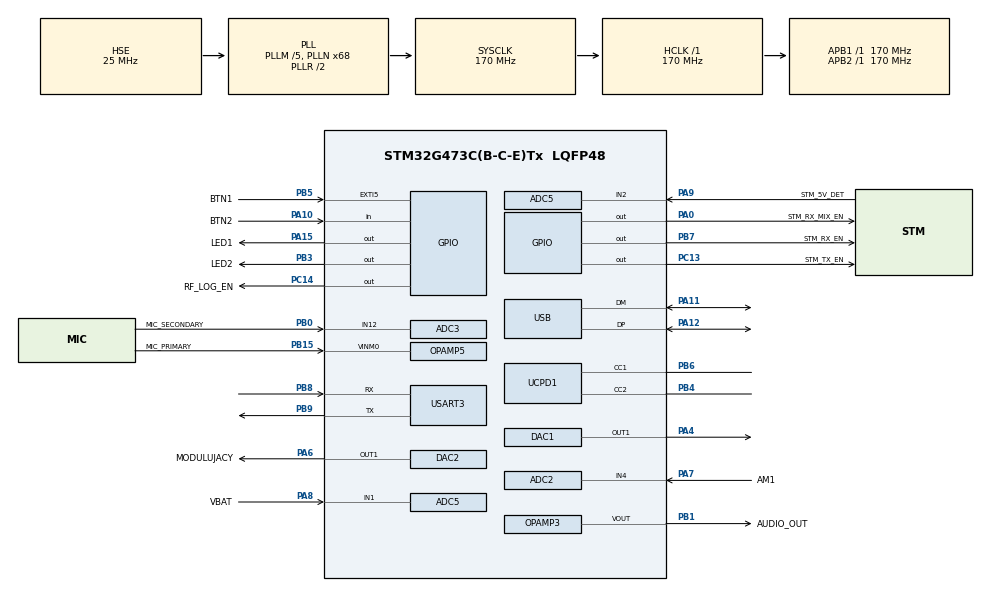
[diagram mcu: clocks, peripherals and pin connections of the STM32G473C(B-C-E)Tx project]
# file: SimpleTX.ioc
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ADC2.Channel-0\#ChannelRegularConversion=ADC_CHANNEL_4
ADC2.NbrOfConversionFlag=1
ADC2.OffsetNumber-0\#ChannelRegularConversion=ADC_OFFSET_NONE
ADC2.Rank-0\#ChannelRegularConversion=1
ADC2.SamplingTime-0\#ChannelRegularConversion=ADC_SAMPLETIME_2CYCLES_5
ADC3.Channel-0\#ChannelRegularConversion=ADC_CHANNEL_12
ADC3.NbrOfConversionFlag=1
ADC3.OffsetNumber-0\#ChannelRegularConversion=ADC_OFFSET_NONE
ADC3.Rank-0\#ChannelRegularConversion=1
ADC3.SamplingTime-0\#ChannelRegularConversion=ADC_SAMPLETIME_2CYCLES_5
ADC3.master=1
ADC5.Channel-1\#ChannelRegularConversion=ADC_CHANNEL_VOPAMP5
ADC5.NbrOfConversionFlag=1
ADC5.OffsetNumber-1\#ChannelRegularConversion=ADC_OFFSET_NONE
ADC5.Rank-1\#ChannelRegularConversion=1
ADC5.SamplingTime-1\#ChannelRegularConversion=ADC_SAMPLETIME_2CYCLES_5
DAC3.DAC_Channel-DAC_OUT2_Int=DAC_CHANNEL_2
DAC4.DAC_Channel-DAC_OUT2_Int=DAC_CHANNEL_2
Mcu.Family=STM32G4
Mcu.Name=STM32G473C(B-C-E)Tx
Mcu.Package=LQFP48
NVIC.ADC1_2_IRQn=true\:1\:0\:true\:false\:true\:true\:true\:true
NVIC.ADC3_IRQn=true\:1\:0\:true\:false\:true\:true\:true\:true
NVIC.ADC5_IRQn=true\:1\:0\:true\:false\:true\:true\:true\:true
NVIC.PriorityGroup=NVIC_PRIORITYGROUP_4
NVIC.TIM2_IRQn=true\:0\:0\:false\:false\:true\:true\:true\:true
NVIC.TIM6_DAC_IRQn=true\:10\:0\:true\:false\:true\:true\:true\:true
NVIC.TIM7_DAC_IRQn=true\:3\:0\:true\:false\:true\:true\:true\:true
NVIC.USART3_IRQn=true\:2\:0\:true\:false\:true\:true\:true\:true
PA0.GPIO_Label=STM_RX_MIX_EN
PA0.GPIO_PuPd=GPIO_NOPULL
PA0.Signal=GPIO_Output
PA10.GPIO_Label=BTN2
PA10.GPIO_PuPd=GPIO_PULLUP
PA10.Signal=SharedStack_PA10
PA10.Stacked=true
PA11.Mode=Device
PA11.Signal=USB_DM
PA12.Mode=Device
PA12.Signal=USB_DP
PA13.Mode=Serial_Wire
PA13.Signal=SYS_JTMS-SWDIO
PA14.Mode=Serial_Wire
PA14.Signal=SYS_JTCK-SWCLK
PA15.GPIO_Label=LED1
PA15.GPIO_PuPd=GPIO_NOPULL
PA15.Signal=GPIO_Output
PA15.Stacked=true
PA4.Signal=COMP_DAC11_group
PA6.GPIO_Label=MODULUJACY
PA6.Signal=COMP_DAC21_group
PA7.GPIO_Label=AM1
PA7.Mode=IN4-Single-Ended
PA7.Signal=ADC2_IN4
PA8.GPIO_Label=VBAT
PA8.Mode=IN1-Differential
PA8.Signal=ADC5_IN1
PA9.GPIO_Label=STM_5V_DET
PA9.Mode=IN1-Differential
PA9.Signal=ADC5_IN2
PB0.GPIO_Label=MIC_SECONDARY
PB0.Mode=IN12-Single-Ended
PB0.Signal=ADC3_IN12
PB1.GPIO_Label=AUDIO_OUT
PB1.Mode=Follower-DAC_OUT2-INP
PB1.Signal=OPAMP3_VOUT
PB14.Signal=OPAMP5_VINP
PB15.GPIO_Label=MIC_PRIMARY
PB15.Mode=PGA_Connected-INVERTINGINPUT_IO0_BIAS-DAC_OUT2-INP_Output_internal
PB15.Signal=OPAMP5_VINM0
PB3.GPIO_Label=LED2
PB3.GPIO_PuPd=GPIO_NOPULL
PB3.Signal=GPIO_Output
PB3.Stacked=true
PB4.Mode=Sink_AllSignals
PB4.Signal=UCPD1_CC2
PB5.GPIO_Label=BTN1
PB5.GPIO_PuPd=GPIO_PULLUP
PB5.Signal=GPXTI5
PB6.Mode=Sink_AllSignals
PB6.Signal=UCPD1_CC1
PB7.GPIO_Label=STM_RX_EN
PB7.Signal=GPIO_Output
PB8-BOOT0.Mode=Asynchronous
PB8-BOOT0.Signal=USART3_RX
PB9.Mode=Asynchronous
PB9.Signal=USART3_TX
PC13.GPIO_Label=STM_TX_EN
PC13.Signal=GPIO_Output
PC13.Stacked=true
PC14-OSC32_IN.GPIO_Label=RF_LOG_EN
PC14-OSC32_IN.Signal=GPIO_Output
PF0-OSC_IN.Mode=HSE-External-Oscillator
PF0-OSC_IN.Signal=RCC_OSC_IN
PF1-OSC_OUT.Mode=HSE-External-Oscillator
PF1-OSC_OUT.Signal=RCC_OSC_OUT
ProjectManager.HeapSize=0x200
ProjectManager.StackSize=0x400
ProjectManager.TargetToolchain=STM32CubeIDE
RCC.ADC12Freq_Value=170000000
RCC.ADC345Freq_Value=170000000
RCC.AHBFreq_Value=170000000
RCC.APB1Freq_Value=170000000
RCC.APB1TimFreq_Value=170000000
RCC.APB2Freq_Value=170000000
RCC.APB2TimFreq_Value=170000000
RCC.CK48CLockSelection=RCC_USBCLKSOURCE_HSI48
RCC.CortexFreq_Value=170000000
RCC.EXTERNAL_CLOCK_VALUE=12288000
RCC.HCLKFreq_Value=170000000
RCC.HSE_VALUE=25000000
RCC.HSI48_VALUE=48000000
RCC.HSI_VALUE=16000000
RCC.LSE_VALUE=32768
RCC.PLLM=RCC_PLLM_DIV5
RCC.PLLN=68
RCC.PLLSourceVirtual=RCC_PLLSOURCE_HSE
RCC.SYSCLKFreq_VALUE=170000000
RCC.SYSCLKSource=RCC_SYSCLKSOURCE_PLLCLK
RCC.USBFreq_Value=48000000
RCC.VCOOutputFreq_Value=340000000
SH.COMP_DAC11_group.0=DAC1_OUT1,DAC_OUT1
SH.COMP_DAC21_group.0=DAC2_OUT1,DAC_OUT1
SH.SharedStack_PA10.0=GPIO_Input+0
SH.SharedStack_PA10.1=GPIO_EXTI10
SYS.VoltageScaling=SYSCFG_VREFBUF_VOLTAGE_SCALE1
TIM2.ClockDivision=TIM_CLOCKDIVISION_DIV4
TIM2.PeriodNoDither=9999
TIM2.Prescaler=7999
TIM5.Prescaler=169
USART3.VirtualMode-Asynchronous=VM_ASYNC
USB.battery_charging_enable=DISABLE
VP_ADC5_OPAMP_INTERNAL5.Mode=IN-OPAMP5
VP_DAC3_VS_DACI1.Mode=DAC_OUT1_Int
VP_DAC3_VS_DACI2.Mode=DAC_OUT2_Int
VP_DAC4_VS_DACI1.Mode=DAC_OUT1_Int
VP_DAC4_VS_DACI2.Mode=DAC_OUT2_Int
VP_SYS_VS_DBSignals.Mode=DisableDeadBatterySignals
VP_TIM1_VS_ClockSourceINT.Mode=Internal
VP_TIM2_VS_ClockSourceINT.Mode=Internal
VP_TIM5_VS_ClockSourceINT.Mode=Internal
VREF+.Mode=InternalMode
VREF+.Signal=VREFBUF_OUT
board=custom

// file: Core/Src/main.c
/* USER CODE BEGIN Header */
/**
  ******************************************************************************
  * @file           : main.c
  * @brief          : Main program body
  ******************************************************************************
  * @attention
  *
  * Copyright (c) 2024 STMicroelectronics.
  * All rights reserved.
  *
  * This software is licensed under terms that can be found in the LICENSE file
  * in the root directory of this software component.
  * If no LICENSE file comes with this software, it is provided AS-IS.
  *
  ******************************************************************************
  */
/* USER CODE END Header */
#include "main.h"

ADC_HandleTypeDef hadc2;
ADC_HandleTypeDef hadc3;
ADC_HandleTypeDef hadc5;

DAC_HandleTypeDef hdac1;
DAC_HandleTypeDef hdac2;
DAC_HandleTypeDef hdac3;
DAC_HandleTypeDef hdac4;

OPAMP_HandleTypeDef hopamp3;
OPAMP_HandleTypeDef hopamp5;

TIM_HandleTypeDef htim1;
TIM_HandleTypeDef htim2;
TIM_HandleTypeDef htim5;

UART_HandleTypeDef huart3;

PCD_HandleTypeDef hpcd_USB_FS;

/* USER CODE BEGIN PV */
uint32_t value;
uint32_t mode;
uint32_t frequency;
float amplitude;
uint16_t scaled_sinewave[100];
/* USER CODE END PV */

void SystemClock_Config(void);
static void MX_GPIO_Init(void);
static void MX_ADC3_Init(void);
static void MX_ADC5_Init(void);
static void MX_DAC1_Init(void);
static void MX_DAC3_Init(void);
static void MX_DAC4_Init(void);
static void MX_OPAMP3_Init(void);
static void MX_OPAMP5_Init(void);
static void MX_UCPD1_Init(void);
static void MX_USART3_UART_Init(void);
static void MX_ADC2_Init(void);
static void MX_DAC2_Init(void);
static void MX_TIM1_Init(void);
static void MX_USB_PCD_Init(void);
static void MX_TIM2_Init(void);
static void MX_TIM5_Init(void);

/* USER CODE BEGIN 0 */
uint16_t sinewave[100] = {0, 4, 16, 36, 64, 100, 144, 195, 253, 319,
                        391, 470, 555, 646, 742, 844, 950, 1061, 1176, 1294,
                        1415, 1538, 1664, 1791, 1919, 2048, 2176, 2304, 2431, 2557,
                        2680, 2801, 2919, 3034, 3145, 3251, 3353, 3449, 3540, 3625,
                        3704, 3776, 3842, 3900, 3951, 3995, 4031, 4059, 4079, 4091,
                        4095, 4091, 4079, 4059, 4031, 3995, 3951, 3900, 3842, 3776,
                        3704, 3625, 3540, 3449, 3353, 3251, 3145, 3034, 2919, 2801,
                        2680, 2557, 2431, 2304, 2176, 2048, 1919, 1791, 1664, 1538,
                        1415, 1294, 1176, 1061, 950, 844, 742, 646, 555, 470,
                        391, 319, 253, 195, 144, 100, 64, 36, 16, 4};

void UpdateSineWave(uint16_t *output, uint16_t *input, float amplitude)
{
    for (uint8_t i = 0; i < 100; i++)
    {
        uint32_t scaled_value = (uint32_t)(input[i] * amplitude);
        if (scaled_value > 4095)
            scaled_value = 4095;
        output[i] = (uint16_t)scaled_value;
    }
}

void microDelay (uint16_t delay)
{
  __HAL_TIM_SET_COUNTER(&htim5, 0);
  while (__HAL_TIM_GET_COUNTER(&htim5) < delay);

}

/* USER CODE END 0 */

int main(void)
{

  /* MCU Configuration--------------------------------------------------------*/

  /* Reset of all peripherals, Initializes the Flash interface and the Systick. */
  HAL_Init();

  /* Configure the system clock */
  SystemClock_Config();

  /* Initialize all configured peripherals */
  MX_GPIO_Init();
  MX_ADC3_Init();
  MX_ADC5_Init();
  MX_DAC1_Init();
  MX_DAC3_Init();
  MX_DAC4_Init();
  MX_OPAMP3_Init();
  MX_OPAMP5_Init();
  MX_UCPD1_Init();
  MX_USART3_UART_Init();
  MX_ADC2_Init();
  MX_DAC2_Init();
  MX_TIM1_Init();
  MX_USB_PCD_Init();
  MX_TIM2_Init();
  MX_TIM5_Init();
  /* USER CODE BEGIN 2 */

HAL_DAC_Start(&hdac1, DAC_CHANNEL_1);
HAL_DAC_Start(&hdac2, DAC_CHANNEL_1);
HAL_TIM_Base_Start(&htim5);
value = 2945; //1.6V
mode = 0; //tryb_pierwszy
frequency = 1; //10KHz
amplitude = 1;
  /* USER CODE END 2 */

  /* Infinite loop */
  /* USER CODE BEGIN WHILE */

  while (1)
  {
	  HAL_DAC_SetValue(&hdac1, DAC_CHANNEL_1, DAC_ALIGN_12B_R, value);
	      for (uint8_t i = 0; i < 100; i++)
	      {
	          HAL_DAC_SetValue(&hdac2, DAC_CHANNEL_1, DAC_ALIGN_12B_R, scaled_sinewave[i]);
	          microDelay(frequency);
	      }

	      // Obsługa przycisku BTN2 i diody LED2
	      if (HAL_GPIO_ReadPin(BTN2_GPIO_Port, BTN2_Pin) == GPIO_PIN_RESET)
	      {
	          HAL_GPIO_WritePin(LED2_GPIO_Port, LED2_Pin, GPIO_PIN_SET); // Włącz LED2
	          mode++;
	          if (mode > 2)
	              mode = 0;
	          HAL_Delay(300);
	      }
	      else
	      {
	          HAL_GPIO_WritePin(LED2_GPIO_Port, LED2_Pin, GPIO_PIN_RESET); // Wyłącz LED2
	      }

	      // Tryb 0: Zwiększanie wartości DAC i zapalanie LED1
	      if (mode == 0)
	      {
	          if (HAL_GPIO_ReadPin(BTN1_GPIO_Port, BTN1_Pin) == GPIO_PIN_RESET)
	          {
	              HAL_GPIO_WritePin(LED1_GPIO_Port, LED1_Pin, GPIO_PIN_SET); // Włącz LED1
	              value += 93;
	              if (value < 0)
	                  value = 1850;
	              if (value > 4095)
	                  value = 1850;
	              HAL_Delay(300);
	          }
	          else
	          {
	              HAL_GPIO_WritePin(LED1_GPIO_Port, LED1_Pin, GPIO_PIN_RESET); // Wyłącz LED1
	          }
	      }

	      // Tryb 1: Zwiększanie częstotliwości i zapalanie LED1
	      if (mode == 1)
	      {
	          if (HAL_GPIO_ReadPin(BTN1_GPIO_Port, BTN1_Pin) == GPIO_PIN_RESET)
	          {
	              HAL_GPIO_WritePin(LED1_GPIO_Port, LED1_Pin, GPIO_PIN_SET); // Włącz LED1
	              frequency++;
	              if (frequency > 5)
	                  frequency = 1;
	        	  UpdateSineWave(scaled_sinewave, sinewave, amplitude);
	              HAL_Delay(300);
	          }
	          else
	          {
	              HAL_GPIO_WritePin(LED1_GPIO_Port, LED1_Pin, GPIO_PIN_RESET); // Wyłącz LED1
	          }
	      }

	      // Tryb 2: ZMNIEJSZANIE amplitudy i zapalanie LED1
	      if (mode == 2)
	      {
	          if (HAL_GPIO_ReadPin(BTN1_GPIO_Port, BTN1_Pin) == GPIO_PIN_RESET)
	          {
	              HAL_GPIO_WritePin(LED1_GPIO_Port, LED1_Pin, GPIO_PIN_SET); // Włącz LED1
	              amplitude = amplitude - 0.1;
	              if (amplitude < 0) amplitude = 1;  // Reset do minimalnej amplitudy
	        	  UpdateSineWave(scaled_sinewave, sinewave, amplitude);
	              HAL_Delay(300);
	          }
	          else
	          {
	              HAL_GPIO_WritePin(LED1_GPIO_Port, LED1_Pin, GPIO_PIN_RESET); // Wyłącz LED1
	          }
	      }
    /* USER CODE END WHILE */

  }
}

void SystemClock_Config(void)
{
  RCC_OscInitTypeDef RCC_OscInitStruct = {0};
  RCC_ClkInitTypeDef RCC_ClkInitStruct = {0};

  /** Configure the main internal regulator output voltage
  */
  HAL_PWREx_ControlVoltageScaling(PWR_REGULATOR_VOLTAGE_SCALE1_BOOST);

  /** Initializes the RCC Oscillators according to the specified parameters
  * in the RCC_OscInitTypeDef structure.
  */
  RCC_OscInitStruct.OscillatorType = RCC_OSCILLATORTYPE_HSI|RCC_OSCILLATORTYPE_HSI48
                              |RCC_OSCILLATORTYPE_HSE;
  RCC_OscInitStruct.HSEState = RCC_HSE_ON;
  RCC_OscInitStruct.HSIState = RCC_HSI_ON;
  RCC_OscInitStruct.HSICalibrationValue = RCC_HSICALIBRATION_DEFAULT;
  RCC_OscInitStruct.HSI48State = RCC_HSI48_ON;
  RCC_OscInitStruct.PLL.PLLState = RCC_PLL_ON;
  RCC_OscInitStruct.PLL.PLLSource = RCC_PLLSOURCE_HSE;
  RCC_OscInitStruct.PLL.PLLM = RCC_PLLM_DIV5;
  RCC_OscInitStruct.PLL.PLLN = 68;
  RCC_OscInitStruct.PLL.PLLP = RCC_PLLP_DIV2;
  RCC_OscInitStruct.PLL.PLLQ = RCC_PLLQ_DIV2;
  RCC_OscInitStruct.PLL.PLLR = RCC_PLLR_DIV2;
  if (HAL_RCC_OscConfig(&RCC_OscInitStruct) != HAL_OK)
  {
    Error_Handler();
  }

  /** Initializes the CPU, AHB and APB buses clocks
  */
  RCC_ClkInitStruct.ClockType = RCC_CLOCKTYPE_HCLK|RCC_CLOCKTYPE_SYSCLK
                              |RCC_CLOCKTYPE_PCLK1|RCC_CLOCKTYPE_PCLK2;
  RCC_ClkInitStruct.SYSCLKSource = RCC_SYSCLKSOURCE_PLLCLK;
  RCC_ClkInitStruct.AHBCLKDivider = RCC_SYSCLK_DIV1;
  RCC_ClkInitStruct.APB1CLKDivider = RCC_HCLK_DIV1;
  RCC_ClkInitStruct.APB2CLKDivider = RCC_HCLK_DIV1;

  if (HAL_RCC_ClockConfig(&RCC_ClkInitStruct, FLASH_LATENCY_4) != HAL_OK)
  {
    Error_Handler();
  }
}

static void MX_ADC2_Init(void)
{

  ADC_ChannelConfTypeDef sConfig = {0};

  /** Common config
  */
  hadc2.Instance = ADC2;
  hadc2.Init.ClockPrescaler = ADC_CLOCK_SYNC_PCLK_DIV4;
  hadc2.Init.Resolution = ADC_RESOLUTION_12B;
  hadc2.Init.DataAlign = ADC_DATAALIGN_RIGHT;
  hadc2.Init.GainCompensation = 0;
  hadc2.Init.ScanConvMode = ADC_SCAN_DISABLE;
  hadc2.Init.EOCSelection = ADC_EOC_SINGLE_CONV;
  hadc2.Init.LowPowerAutoWait = DISABLE;
  hadc2.Init.ContinuousConvMode = DISABLE;
  hadc2.Init.NbrOfConversion = 1;
  hadc2.Init.DiscontinuousConvMode = DISABLE;
  hadc2.Init.ExternalTrigConv = ADC_SOFTWARE_START;
  hadc2.Init.ExternalTrigConvEdge = ADC_EXTERNALTRIGCONVEDGE_NONE;
  hadc2.Init.DMAContinuousRequests = DISABLE;
  hadc2.Init.Overrun = ADC_OVR_DATA_PRESERVED;
  hadc2.Init.OversamplingMode = DISABLE;
  if (HAL_ADC_Init(&hadc2) != HAL_OK)
  {
    Error_Handler();
  }

  /** Configure Regular Channel
  */
  sConfig.Channel = ADC_CHANNEL_4;
  sConfig.Rank = ADC_REGULAR_RANK_1;
  sConfig.SamplingTime = ADC_SAMPLETIME_2CYCLES_5;
  sConfig.SingleDiff = ADC_SINGLE_ENDED;
  sConfig.OffsetNumber = ADC_OFFSET_NONE;
  sConfig.Offset = 0;
  if (HAL_ADC_ConfigChannel(&hadc2, &sConfig) != HAL_OK)
  {
    Error_Handler();
  }

}

static void MX_ADC3_Init(void)
{

  ADC_MultiModeTypeDef multimode = {0};
  ADC_ChannelConfTypeDef sConfig = {0};

  /** Common config
  */
  hadc3.Instance = ADC3;
  hadc3.Init.ClockPrescaler = ADC_CLOCK_SYNC_PCLK_DIV4;
  hadc3.Init.Resolution = ADC_RESOLUTION_12B;
  hadc3.Init.DataAlign = ADC_DATAALIGN_RIGHT;
  hadc3.Init.GainCompensation = 0;
  hadc3.Init.ScanConvMode = ADC_SCAN_DISABLE;
  hadc3.Init.EOCSelection = ADC_EOC_SINGLE_CONV;
  hadc3.Init.LowPowerAutoWait = DISABLE;
  hadc3.Init.ContinuousConvMode = DISABLE;
  hadc3.Init.NbrOfConversion = 1;
  hadc3.Init.DiscontinuousConvMode = DISABLE;
  hadc3.Init.ExternalTrigConv = ADC_SOFTWARE_START;
  hadc3.Init.ExternalTrigConvEdge = ADC_EXTERNALTRIGCONVEDGE_NONE;
  hadc3.Init.DMAContinuousRequests = DISABLE;
  hadc3.Init.Overrun = ADC_OVR_DATA_PRESERVED;
  hadc3.Init.OversamplingMode = DISABLE;
  if (HAL_ADC_Init(&hadc3) != HAL_OK)
  {
    Error_Handler();
  }

  /** Configure the ADC multi-mode
  */
  multimode.Mode = ADC_MODE_INDEPENDENT;
  if (HAL_ADCEx_MultiModeConfigChannel(&hadc3, &multimode) != HAL_OK)
  {
    Error_Handler();
  }

  /** Configure Regular Channel
  */
  sConfig.Channel = ADC_CHANNEL_12;
  sConfig.Rank = ADC_REGULAR_RANK_1;
  sConfig.SamplingTime = ADC_SAMPLETIME_2CYCLES_5;
  sConfig.SingleDiff = ADC_SINGLE_ENDED;
  sConfig.OffsetNumber = ADC_OFFSET_NONE;
  sConfig.Offset = 0;
  if (HAL_ADC_ConfigChannel(&hadc3, &sConfig) != HAL_OK)
  {
    Error_Handler();
  }

}

static void MX_ADC5_Init(void)
{

  ADC_ChannelConfTypeDef sConfig = {0};

  /** Common config
  */
  hadc5.Instance = ADC5;
  hadc5.Init.ClockPrescaler = ADC_CLOCK_SYNC_PCLK_DIV4;
  hadc5.Init.Resolution = ADC_RESOLUTION_12B;
  hadc5.Init.DataAlign = ADC_DATAALIGN_RIGHT;
  hadc5.Init.GainCompensation = 0;
  hadc5.Init.ScanConvMode = ADC_SCAN_DISABLE;
  hadc5.Init.EOCSelection = ADC_EOC_SINGLE_CONV;
  hadc5.Init.LowPowerAutoWait = DISABLE;
  hadc5.Init.ContinuousConvMode = DISABLE;
  hadc5.Init.NbrOfConversion = 1;
  hadc5.Init.DiscontinuousConvMode = DISABLE;
  hadc5.Init.ExternalTrigConv = ADC_SOFTWARE_START;
  hadc5.Init.ExternalTrigConvEdge = ADC_EXTERNALTRIGCONVEDGE_NONE;
  hadc5.Init.DMAContinuousRequests = DISABLE;
  hadc5.Init.Overrun = ADC_OVR_DATA_PRESERVED;
  hadc5.Init.OversamplingMode = DISABLE;
  if (HAL_ADC_Init(&hadc5) != HAL_OK)
  {
    Error_Handler();
  }

  /** Configure Regular Channel
  */
  sConfig.Channel = ADC_CHANNEL_VOPAMP5;
  sConfig.Rank = ADC_REGULAR_RANK_1;
  sConfig.SamplingTime = ADC_SAMPLETIME_2CYCLES_5;
  sConfig.SingleDiff = ADC_SINGLE_ENDED;
  sConfig.OffsetNumber = ADC_OFFSET_NONE;
  sConfig.Offset = 0;
  if (HAL_ADC_ConfigChannel(&hadc5, &sConfig) != HAL_OK)
  {
    Error_Handler();
  }

}

static void MX_DAC1_Init(void)
{

  DAC_ChannelConfTypeDef sConfig = {0};

  /** DAC Initialization
  */
  hdac1.Instance = DAC1;
  if (HAL_DAC_Init(&hdac1) != HAL_OK)
  {
    Error_Handler();
  }

  /** DAC channel OUT1 config
  */
  sConfig.DAC_HighFrequency = DAC_HIGH_FREQUENCY_INTERFACE_MODE_AUTOMATIC;
  sConfig.DAC_DMADoubleDataMode = DISABLE;
  sConfig.DAC_SignedFormat = DISABLE;
  sConfig.DAC_SampleAndHold = DAC_SAMPLEANDHOLD_DISABLE;
  sConfig.DAC_Trigger = DAC_TRIGGER_NONE;
  sConfig.DAC_Trigger2 = DAC_TRIGGER_NONE;
  sConfig.DAC_OutputBuffer = DAC_OUTPUTBUFFER_ENABLE;
  sConfig.DAC_ConnectOnChipPeripheral = DAC_CHIPCONNECT_EXTERNAL;
  sConfig.DAC_UserTrimming = DAC_TRIMMING_FACTORY;
  if (HAL_DAC_ConfigChannel(&hdac1, &sConfig, DAC_CHANNEL_1) != HAL_OK)
  {
    Error_Handler();
  }

}

static void MX_DAC2_Init(void)
{

  DAC_ChannelConfTypeDef sConfig = {0};

  /** DAC Initialization
  */
  hdac2.Instance = DAC2;
  if (HAL_DAC_Init(&hdac2) != HAL_OK)
  {
    Error_Handler();
  }

  /** DAC channel OUT1 config
  */
  sConfig.DAC_HighFrequency = DAC_HIGH_FREQUENCY_INTERFACE_MODE_AUTOMATIC;
  sConfig.DAC_DMADoubleDataMode = DISABLE;
  sConfig.DAC_SignedFormat = DISABLE;
  sConfig.DAC_SampleAndHold = DAC_SAMPLEANDHOLD_DISABLE;
  sConfig.DAC_Trigger = DAC_TRIGGER_NONE;
  sConfig.DAC_Trigger2 = DAC_TRIGGER_NONE;
  sConfig.DAC_OutputBuffer = DAC_OUTPUTBUFFER_ENABLE;
  sConfig.DAC_ConnectOnChipPeripheral = DAC_CHIPCONNECT_EXTERNAL;
  sConfig.DAC_UserTrimming = DAC_TRIMMING_FACTORY;
  if (HAL_DAC_ConfigChannel(&hdac2, &sConfig, DAC_CHANNEL_1) != HAL_OK)
  {
    Error_Handler();
  }

}

static void MX_DAC3_Init(void)
{

  DAC_ChannelConfTypeDef sConfig = {0};

  /** DAC Initialization
  */
  hdac3.Instance = DAC3;
  if (HAL_DAC_Init(&hdac3) != HAL_OK)
  {
    Error_Handler();
  }

  /** DAC channel OUT1 config
  */
  sConfig.DAC_HighFrequency = DAC_HIGH_FREQUENCY_INTERFACE_MODE_AUTOMATIC;
  sConfig.DAC_DMADoubleDataMode = DISABLE;
  sConfig.DAC_SignedFormat = DISABLE;
  sConfig.DAC_SampleAndHold = DAC_SAMPLEANDHOLD_DISABLE;
  sConfig.DAC_Trigger = DAC_TRIGGER_NONE;
  sConfig.DAC_Trigger2 = DAC_TRIGGER_NONE;
  sConfig.DAC_OutputBuffer = DAC_OUTPUTBUFFER_DISABLE;
  sConfig.DAC_ConnectOnChipPeripheral = DAC_CHIPCONNECT_INTERNAL;
  sConfig.DAC_UserTrimming = DAC_TRIMMING_FACTORY;
  if (HAL_DAC_ConfigChannel(&hdac3, &sConfig, DAC_CHANNEL_1) != HAL_OK)
  {
    Error_Handler();
  }

  /** DAC channel OUT2 config
  */
  if (HAL_DAC_ConfigChannel(&hdac3, &sConfig, DAC_CHANNEL_2) != HAL_OK)
  {
    Error_Handler();
  }

}

static void MX_DAC4_Init(void)
{

  DAC_ChannelConfTypeDef sConfig = {0};

  /** DAC Initialization
  */
  hdac4.Instance = DAC4;
  if (HAL_DAC_Init(&hdac4) != HAL_OK)
  {
    Error_Handler();
  }

  /** DAC channel OUT1 config
  */
  sConfig.DAC_HighFrequency = DAC_HIGH_FREQUENCY_INTERFACE_MODE_AUTOMATIC;
  sConfig.DAC_DMADoubleDataMode = DISABLE;
  sConfig.DAC_SignedFormat = DISABLE;
  sConfig.DAC_SampleAndHold = DAC_SAMPLEANDHOLD_DISABLE;
  sConfig.DAC_Trigger = DAC_TRIGGER_NONE;
  sConfig.DAC_Trigger2 = DAC_TRIGGER_NONE;
  sConfig.DAC_OutputBuffer = DAC_OUTPUTBUFFER_DISABLE;
  sConfig.DAC_ConnectOnChipPeripheral = DAC_CHIPCONNECT_INTERNAL;
  sConfig.DAC_UserTrimming = DAC_TRIMMING_FACTORY;
  if (HAL_DAC_ConfigChannel(&hdac4, &sConfig, DAC_CHANNEL_1) != HAL_OK)
  {
    Error_Handler();
  }

  /** DAC channel OUT2 config
  */
  if (HAL_DAC_ConfigChannel(&hdac4, &sConfig, DAC_CHANNEL_2) != HAL_OK)
  {
    Error_Handler();
  }

}

static void MX_OPAMP3_Init(void)
{

  hopamp3.Instance = OPAMP3;
  hopamp3.Init.PowerMode = OPAMP_POWERMODE_NORMALSPEED;
  hopamp3.Init.Mode = OPAMP_FOLLOWER_MODE;
  hopamp3.Init.NonInvertingInput = OPAMP_NONINVERTINGINPUT_DAC;
  hopamp3.Init.InternalOutput = DISABLE;
  hopamp3.Init.TimerControlledMuxmode = OPAMP_TIMERCONTROLLEDMUXMODE_DISABLE;
  hopamp3.Init.UserTrimming = OPAMP_TRIMMING_FACTORY;
  if (HAL_OPAMP_Init(&hopamp3) != HAL_OK)
  {
    Error_Handler();
  }

}

static void MX_OPAMP5_Init(void)
{

  hopamp5.Instance = OPAMP5;
  hopamp5.Init.PowerMode = OPAMP_POWERMODE_NORMALSPEED;
  hopamp5.Init.Mode = OPAMP_PGA_MODE;
  hopamp5.Init.NonInvertingInput = OPAMP_NONINVERTINGINPUT_IO0;
  hopamp5.Init.InternalOutput = ENABLE;
  hopamp5.Init.TimerControlledMuxmode = OPAMP_TIMERCONTROLLEDMUXMODE_DISABLE;
  hopamp5.Init.PgaConnect = OPAMP_PGA_CONNECT_INVERTINGINPUT_IO0_BIAS;
  hopamp5.Init.PgaGain = OPAMP_PGA_GAIN_2_OR_MINUS_1;
  hopamp5.Init.UserTrimming = OPAMP_TRIMMING_FACTORY;
  if (HAL_OPAMP_Init(&hopamp5) != HAL_OK)
  {
    Error_Handler();
  }

}

static void MX_TIM1_Init(void)
{

  TIM_ClockConfigTypeDef sClockSourceConfig = {0};
  TIM_MasterConfigTypeDef sMasterConfig = {0};

  htim1.Instance = TIM1;
  htim1.Init.Prescaler = 0;
  htim1.Init.CounterMode = TIM_COUNTERMODE_UP;
  htim1.Init.Period = 65535;
  htim1.Init.ClockDivision = TIM_CLOCKDIVISION_DIV1;
  htim1.Init.RepetitionCounter = 0;
  htim1.Init.AutoReloadPreload = TIM_AUTORELOAD_PRELOAD_DISABLE;
  if (HAL_TIM_Base_Init(&htim1) != HAL_OK)
  {
    Error_Handler();
  }
  sClockSourceConfig.ClockSource = TIM_CLOCKSOURCE_INTERNAL;
  if (HAL_TIM_ConfigClockSource(&htim1, &sClockSourceConfig) != HAL_OK)
  {
    Error_Handler();
  }
  sMasterConfig.MasterOutputTrigger = TIM_TRGO_RESET;
  sMasterConfig.MasterOutputTrigger2 = TIM_TRGO2_RESET;
  sMasterConfig.MasterSlaveMode = TIM_MASTERSLAVEMODE_DISABLE;
  if (HAL_TIMEx_MasterConfigSynchronization(&htim1, &sMasterConfig) != HAL_OK)
  {
    Error_Handler();
  }

}

static void MX_TIM2_Init(void)
{

  TIM_ClockConfigTypeDef sClockSourceConfig = {0};
  TIM_MasterConfigTypeDef sMasterConfig = {0};

  htim2.Instance = TIM2;
  htim2.Init.Prescaler = 7999;
  htim2.Init.CounterMode = TIM_COUNTERMODE_UP;
  htim2.Init.Period = 9999;
  htim2.Init.ClockDivision = TIM_CLOCKDIVISION_DIV4;
  htim2.Init.AutoReloadPreload = TIM_AUTORELOAD_PRELOAD_DISABLE;
  if (HAL_TIM_Base_Init(&htim2) != HAL_OK)
  {
    Error_Handler();
  }
  sClockSourceConfig.ClockSource = TIM_CLOCKSOURCE_INTERNAL;
  if (HAL_TIM_ConfigClockSource(&htim2, &sClockSourceConfig) != HAL_OK)
  {
    Error_Handler();
  }
  sMasterConfig.MasterOutputTrigger = TIM_TRGO_RESET;
  sMasterConfig.MasterSlaveMode = TIM_MASTERSLAVEMODE_DISABLE;
  if (HAL_TIMEx_MasterConfigSynchronization(&htim2, &sMasterConfig) != HAL_OK)
  {
    Error_Handler();
  }

}

static void MX_TIM5_Init(void)
{

  TIM_ClockConfigTypeDef sClockSourceConfig = {0};
  TIM_MasterConfigTypeDef sMasterConfig = {0};

  htim5.Instance = TIM5;
  htim5.Init.Prescaler = 169;
  htim5.Init.CounterMode = TIM_COUNTERMODE_UP;
  htim5.Init.Period = 4294967295;
  htim5.Init.ClockDivision = TIM_CLOCKDIVISION_DIV1;
  htim5.Init.AutoReloadPreload = TIM_AUTORELOAD_PRELOAD_DISABLE;
  if (HAL_TIM_Base_Init(&htim5) != HAL_OK)
  {
    Error_Handler();
  }
  sClockSourceConfig.ClockSource = TIM_CLOCKSOURCE_INTERNAL;
  if (HAL_TIM_ConfigClockSource(&htim5, &sClockSourceConfig) != HAL_OK)
  {
    Error_Handler();
  }
  sMasterConfig.MasterOutputTrigger = TIM_TRGO_RESET;
  sMasterConfig.MasterSlaveMode = TIM_MASTERSLAVEMODE_DISABLE;
  if (HAL_TIMEx_MasterConfigSynchronization(&htim5, &sMasterConfig) != HAL_OK)
  {
    Error_Handler();
  }

}

static void MX_UCPD1_Init(void)
{

  LL_GPIO_InitTypeDef GPIO_InitStruct = {0};

  /* Peripheral clock enable */
  LL_APB1_GRP2_EnableClock(LL_APB1_GRP2_PERIPH_UCPD1);

  LL_AHB2_GRP1_EnableClock(LL_AHB2_GRP1_PERIPH_GPIOB);
  /**UCPD1 GPIO Configuration
  PB4   ------> UCPD1_CC2
  PB6   ------> UCPD1_CC1
  */
  GPIO_InitStruct.Pin = LL_GPIO_PIN_4;
  GPIO_InitStruct.Mode = LL_GPIO_MODE_ANALOG;
  GPIO_InitStruct.Pull = LL_GPIO_PULL_NO;
  LL_GPIO_Init(GPIOB, &GPIO_InitStruct);

  GPIO_InitStruct.Pin = LL_GPIO_PIN_6;
  GPIO_InitStruct.Mode = LL_GPIO_MODE_ANALOG;
  GPIO_InitStruct.Pull = LL_GPIO_PULL_NO;
  LL_GPIO_Init(GPIOB, &GPIO_InitStruct);

}

static void MX_USART3_UART_Init(void)
{

  huart3.Instance = USART3;
  huart3.Init.BaudRate = 115200;
  huart3.Init.WordLength = UART_WORDLENGTH_8B;
  huart3.Init.StopBits = UART_STOPBITS_1;
  huart3.Init.Parity = UART_PARITY_NONE;
  huart3.Init.Mode = UART_MODE_TX_RX;
  huart3.Init.HwFlowCtl = UART_HWCONTROL_NONE;
  huart3.Init.OverSampling = UART_OVERSAMPLING_16;
  huart3.Init.OneBitSampling = UART_ONE_BIT_SAMPLE_DISABLE;
  huart3.Init.ClockPrescaler = UART_PRESCALER_DIV1;
  huart3.AdvancedInit.AdvFeatureInit = UART_ADVFEATURE_NO_INIT;
  if (HAL_UART_Init(&huart3) != HAL_OK)
  {
    Error_Handler();
  }
  if (HAL_UARTEx_SetTxFifoThreshold(&huart3, UART_TXFIFO_THRESHOLD_1_8) != HAL_OK)
  {
    Error_Handler();
  }
  if (HAL_UARTEx_SetRxFifoThreshold(&huart3, UART_RXFIFO_THRESHOLD_1_8) != HAL_OK)
  {
    Error_Handler();
  }
  if (HAL_UARTEx_DisableFifoMode(&huart3) != HAL_OK)
  {
    Error_Handler();
  }

}

static void MX_USB_PCD_Init(void)
{

  hpcd_USB_FS.Instance = USB;
  hpcd_USB_FS.Init.dev_endpoints = 8;
  hpcd_USB_FS.Init.speed = PCD_SPEED_FULL;
  hpcd_USB_FS.Init.phy_itface = PCD_PHY_EMBEDDED;
  hpcd_USB_FS.Init.Sof_enable = DISABLE;
  hpcd_USB_FS.Init.low_power_enable = DISABLE;
  hpcd_USB_FS.Init.lpm_enable = DISABLE;
  hpcd_USB_FS.Init.battery_charging_enable = DISABLE;
  if (HAL_PCD_Init(&hpcd_USB_FS) != HAL_OK)
  {
    Error_Handler();
  }

}

static void MX_GPIO_Init(void)
{
  GPIO_InitTypeDef GPIO_InitStruct = {0};

  /* GPIO Ports Clock Enable */
  __HAL_RCC_GPIOC_CLK_ENABLE();
  __HAL_RCC_GPIOF_CLK_ENABLE();
  __HAL_RCC_GPIOG_CLK_ENABLE();
  __HAL_RCC_GPIOA_CLK_ENABLE();
  __HAL_RCC_GPIOB_CLK_ENABLE();

  /*Configure GPIO pin Output Level */
  HAL_GPIO_WritePin(GPIOC, STM_TX_EN_Pin|RF_LOG_EN_Pin, GPIO_PIN_RESET);

  /*Configure GPIO pin Output Level */
  HAL_GPIO_WritePin(GPIOA, STM_RX_MIX_EN_Pin|LED1_Pin, GPIO_PIN_RESET);

  /*Configure GPIO pin Output Level */
  HAL_GPIO_WritePin(GPIOB, LED2_Pin|STM_RX_EN_Pin, GPIO_PIN_RESET);

  /*Configure GPIO pins : STM_TX_EN_Pin RF_LOG_EN_Pin */
  GPIO_InitStruct.Pin = STM_TX_EN_Pin|RF_LOG_EN_Pin;
  GPIO_InitStruct.Mode = GPIO_MODE_OUTPUT_PP;
  GPIO_InitStruct.Pull = GPIO_NOPULL;
  GPIO_InitStruct.Speed = GPIO_SPEED_FREQ_LOW;
  HAL_GPIO_Init(GPIOC, &GPIO_InitStruct);

  /*Configure GPIO pin : PC15 */
  GPIO_InitStruct.Pin = GPIO_PIN_15;
  GPIO_InitStruct.Mode = GPIO_MODE_ANALOG;
  GPIO_InitStruct.Pull = GPIO_NOPULL;
  HAL_GPIO_Init(GPIOC, &GPIO_InitStruct);

  /*Configure GPIO pin : PG10 */
  GPIO_InitStruct.Pin = GPIO_PIN_10;
  GPIO_InitStruct.Mode = GPIO_MODE_ANALOG;
  GPIO_InitStruct.Pull = GPIO_NOPULL;
  HAL_GPIO_Init(GPIOG, &GPIO_InitStruct);

  /*Configure GPIO pins : STM_RX_MIX_EN_Pin LED1_Pin */
  GPIO_InitStruct.Pin = STM_RX_MIX_EN_Pin|LED1_Pin;
  GPIO_InitStruct.Mode = GPIO_MODE_OUTPUT_PP;
  GPIO_InitStruct.Pull = GPIO_NOPULL;
  GPIO_InitStruct.Speed = GPIO_SPEED_FREQ_LOW;
  HAL_GPIO_Init(GPIOA, &GPIO_InitStruct);

  /*Configure GPIO pins : PA1 PA2 PA3 PA5 */
  GPIO_InitStruct.Pin = GPIO_PIN_1|GPIO_PIN_2|GPIO_PIN_3|GPIO_PIN_5;
  GPIO_InitStruct.Mode = GPIO_MODE_ANALOG;
  GPIO_InitStruct.Pull = GPIO_NOPULL;
  HAL_GPIO_Init(GPIOA, &GPIO_InitStruct);

  /*Configure GPIO pins : PB2 PB10 PB11 PB12
                           PB13 */
  GPIO_InitStruct.Pin = GPIO_PIN_2|GPIO_PIN_10|GPIO_PIN_11|GPIO_PIN_12
                          |GPIO_PIN_13;
  GPIO_InitStruct.Mode = GPIO_MODE_ANALOG;
  GPIO_InitStruct.Pull = GPIO_NOPULL;
  HAL_GPIO_Init(GPIOB, &GPIO_InitStruct);

  /*Configure GPIO pin : BTN2_Pin */
  GPIO_InitStruct.Pin = BTN2_Pin;
  GPIO_InitStruct.Mode = GPIO_MODE_IT_RISING;
  GPIO_InitStruct.Pull = GPIO_PULLUP;
  HAL_GPIO_Init(BTN2_GPIO_Port, &GPIO_InitStruct);

  /*Configure GPIO pins : LED2_Pin STM_RX_EN_Pin */
  GPIO_InitStruct.Pin = LED2_Pin|STM_RX_EN_Pin;
  GPIO_InitStruct.Mode = GPIO_MODE_OUTPUT_PP;
  GPIO_InitStruct.Pull = GPIO_NOPULL;
  GPIO_InitStruct.Speed = GPIO_SPEED_FREQ_LOW;
  HAL_GPIO_Init(GPIOB, &GPIO_InitStruct);

  /*Configure GPIO pin : BTN1_Pin */
  GPIO_InitStruct.Pin = BTN1_Pin;
  GPIO_InitStruct.Mode = GPIO_MODE_IT_RISING;
  GPIO_InitStruct.Pull = GPIO_PULLUP;
  HAL_GPIO_Init(BTN1_GPIO_Port, &GPIO_InitStruct);

}

void Error_Handler(void)
{
  __disable_irq();
  while (1)
  {
  }
}
